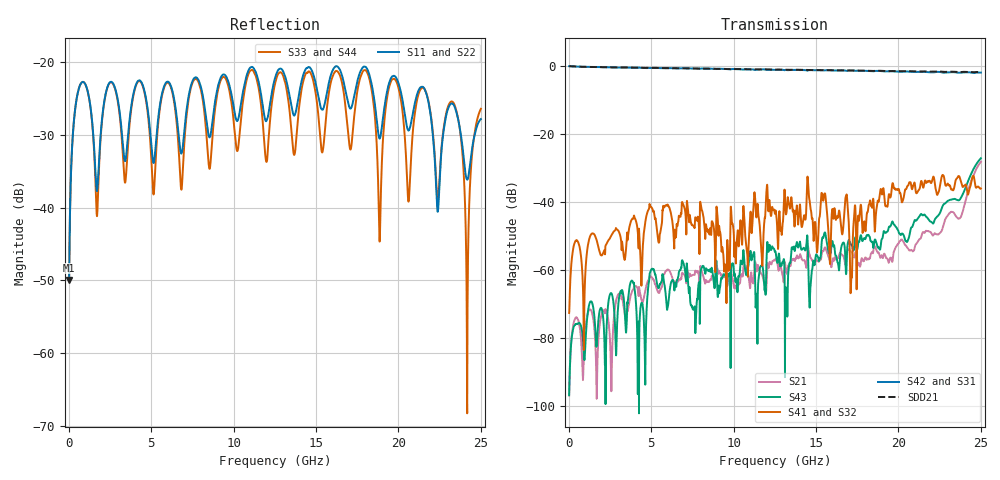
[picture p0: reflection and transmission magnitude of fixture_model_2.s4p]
! By using this Touchstone file you agree to the following terms and conditions.
! Copyright
!	Copyright 2019 Amphenol ICC.
! This Touchstone file has been created for our customers and associates.
! Amphenol ICC retains copyright in the entire text and graphic content of
! this file.  You may view, copy and distribute this file freely.
! You are not authorized to modify this file in any manner without
! the written permission of Amphenol ICC.  All other rights are reserved by Amphenol ICC.
! Information
! Amphenol ICC endeavors to use its reasonable efforts to place accurate and
! up-to-date information in this Touchstone file.  However, this file is
! provided on an as is basis.  AMPHENOL ICC GIVES NO WARRANTY, EXPRESS OR
! IMPLIED, WITH RESPECT TO ANY INFORMATION PROVIDED IN THIS FILE,
! INCLUDING BUT NOT LIMITED TO THE IMPLIED WARRANTIES OF
! MERCHANTABILITY, FITNESS FOR A PARTICULAR PURPOSE OR NON-INFRINGEMENT.
! AMPHENOL ICC SHALL NOT BE LIABLE FOR ANY DIRECT, SPECIAL, INDIRECT,
! CONSEQUENTIAL, PUNITIVE OR OTHER DAMAGES BASED ON USE OF THIS FILE.
! Trademarks
! This file may include names for products that are trademarks
! used by Amphenol ICC and Amphenol group companies.
! Unauthorized use or misuse of such trademarks is prohibited.
#	Hz	S	RI	R	50
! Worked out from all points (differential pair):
!   2500 points, 10 MHz to 25 GHz, reference 50 ohm
!   strongest paths, dB at 10 MHz, 6.26 GHz, 12.51 GHz, 18.76 GHz, 25 GHz:
!     S42: -0.1, -0.6, -1.1, -1.4, -1.9
!     S31: -0.1, -0.6, -1.1, -1.4, -1.9
!     S41: -72.5, -45.1, -43.4, -39.7, -36.0
!     S32: -72.5, -45.1, -43.4, -39.7, -36.0
!     S43: -96.7, -63.0, -54.5, -53.3, -27.1
!     S21: -96.8, -62.0, -57.2, -54.8, -28.2
!   taken as a pair (ports 2,1 in; 4,3 out), SDD21 dB: 0.0, -0.7, -1.1, -1.4, -1.8
!   lowest |S11| = -49.9 dB at 10 MHz (marker M1), VSWR 1.01, Z = 49.9 - j0.314 ohm
!   |S11| at or under -10 dB: start of sweep to end of sweep
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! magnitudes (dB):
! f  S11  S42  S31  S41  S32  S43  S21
! 10 MHz  -49.9  -0.1  -0.1  -72.5  -72.5  -96.7  -96.8
! 820 MHz  -22.7  -0.2  -0.2  -61.5  -61.5  -78.9  -89.1
! 4.94 GHz  -29.8  -0.6  -0.6  -41.2  -41.2  -60.5  -61.8
! 17.12 GHz  -26.3  -1.3  -1.3  -64.0  -64.0  -52.5  -54.6
! 23.26 GHz  -25.7  -1.8  -1.8  -36.2  -36.2  -39.2  -42.9
! 24.16 GHz  -36.1  -1.9  -1.9  -36.5  -36.5  -34.5  -37.8
! 25 GHz  -27.8  -1.9  -1.9  -36.0  -36.0  -27.1  -28.2
